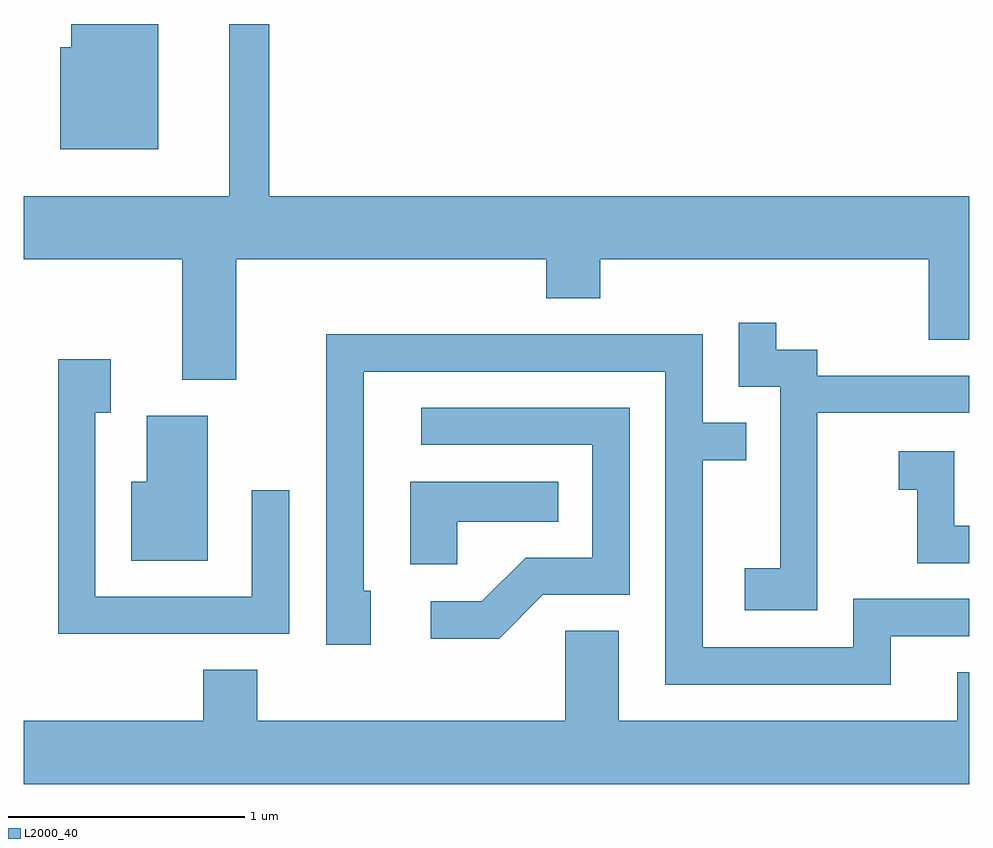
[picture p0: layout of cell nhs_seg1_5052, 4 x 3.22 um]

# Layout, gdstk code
import gdstk
lib = gdstk.Library(unit=1e-6, precision=1e-09)
def P(c, l, *ps):  # polygons
    for p in ps: c.add(gdstk.Polygon(p, *l))
L2000_40 = (2000, 40)

nhs_seg1_5052 = lib.new_cell('nhs_seg1_5052')
P(nhs_seg1_5052, L2000_40, [(338.509,870.716),(339.821,870.716),(339.821,870.551),(340.049,870.551),(340.049,870.716),(341.441,870.716),(341.441,870.376),(341.611,870.376),(341.611,870.984),(338.649,870.984),(338.649,871.712),(338.481,871.712),(338.481,870.984),(337.611,870.984),(337.611,870.716),(338.281,870.716),(338.281,870.206),(338.509,870.206)],
  [(338.179,871.712),(337.811,871.712),(337.811,871.614),(337.766,871.614),(337.766,871.181),(338.179,871.181)],
  [(340.969,870.066),(341.611,870.066),(341.611,870.224),(340.969,870.224),(340.969,870.334),(340.794,870.334),(340.794,870.448),(340.636,870.448),(340.636,870.176),(340.811,870.176),(340.811,869.409),(340.661,869.409),(340.661,869.231),(340.969,869.231)],
  [(341.279,869.121),(341.611,869.121),(341.611,869.279),(341.121,869.279),(341.121,869.074),(340.484,869.074),(340.484,869.866),(340.668,869.866),(340.668,870.024),(340.484,870.024),(340.484,870.399),(338.891,870.399),(338.891,869.086),(339.079,869.086),(339.079,869.314),(339.049,869.314),(339.049,870.241),(340.326,870.241),(340.326,868.916),(341.279,868.916)],
  [(338.734,869.738),(338.576,869.738),(338.576,869.289),(337.914,869.289),(337.914,870.066),(337.979,870.066),(337.979,870.294),(337.756,870.294),(337.756,869.131),(338.734,869.131)],
  [(339.807,869.296),(340.174,869.296),(340.174,870.089),(339.293,870.089),(339.293,869.931),(340.016,869.931),(340.016,869.454),(339.734,869.454),(339.549,869.269),(339.333,869.269),(339.333,869.111),(339.622,869.111)],
  [(338.389,870.054),(338.131,870.054),(338.131,869.774),(338.066,869.774),(338.066,869.441),(338.389,869.441)],
  [(341.611,869.589),(341.549,869.589),(341.549,869.904),(341.313,869.904),(341.313,869.741),(341.391,869.741),(341.391,869.431),(341.611,869.431)],
  [(339.444,869.606),(339.873,869.606),(339.873,869.774),(339.246,869.774),(339.246,869.426),(339.444,869.426)],
  [(341.611,868.969),(341.561,868.969),(341.561,868.764),(340.129,868.764),(340.129,869.144),(339.901,869.144),(339.901,868.764),(338.599,868.764),(338.599,868.979),(338.371,868.979),(338.371,868.764),(337.611,868.764),(337.611,868.496),(341.611,868.496)])

lib.write_gds('nhs_seg1_5052.gds')
